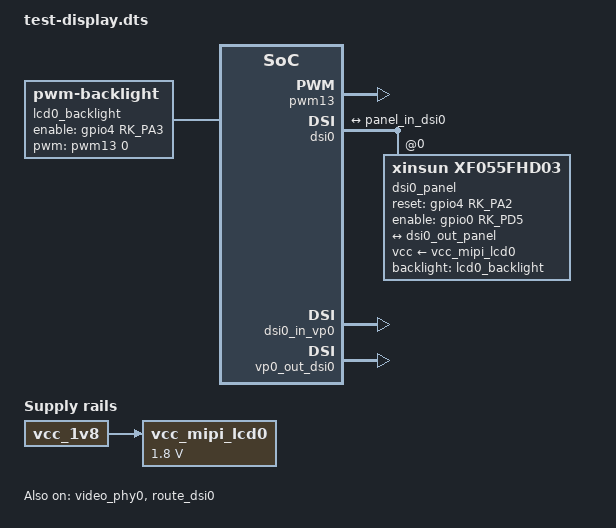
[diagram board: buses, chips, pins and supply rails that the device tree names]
/dts-v1/;
/plugin/;

#include <dt-bindings/gpio/gpio.h>
#include <dt-bindings/pinctrl/rockchip.h>
#include <dt-bindings/display/drm_mipi_dsi.h>

/ {
	metadata {
		title = "Enable test dsi Display";
		compatible = "radxa,cm3-io";
		category = "display";
		exclusive = "dsi0", "pwm13";
		description = "Enable test dsi Display.";
	};

	fragment@0 {
		target-path = "/";

		__overlay__ {
			vcc_mipi_lcd0: vcc-mipi {
				compatible = "regulator-fixed";
				regulator-name = "vcc_mipi_lcd0";
				regulator-always-on;
				regulator-boot-on;
				regulator-min-microvolt = <1800000>;
				regulator-max-microvolt = <1800000>;
				vin-supply = <&vcc_1v8>;
				regulator-state-mem {
					regulator-off-in-suspend;
				};
			};

			lcd0_backlight:lcd0-backlight {
				status = "okay";
				compatible = "pwm-backlight";
				pwms = <&pwm13 0 25000 12000>;
				brightness-levels = <
					255 254 253 252 251 250 249 248
					247 246 245 244 243 242 241 240
					239 238 237 236 235 234 233 232
					231 230 229 228 227 226 225 224
					223 222 221 220 219 218 217 216
					215 214 213 212 211 210 209 208
					207 206 205 204 203 202 201 200
					199 198 197 196 195 194 193 192
					191 190 189 188 187 186 185 184
					183 182 181 180 179 178 177 176
					175 174 173 172 171 170 169 168
					167 166 165 164 163 162 161 160
					159 158 157 156 155 154 153 152
					151 150 149 148 147 146 145 144
					143 142 141 140 139 138 137 136
					135 134 133 132 131 130 129 128
					127 126 125 124 123 122 121 120
					119 118 117 116 115 114 113 112
					111 110 109 108 107 106 105 104
					103 102 101 100  99  98  97  96
					95  94  93  92  91  90  89  88
					87  86  85  84  83  82  81  80
					79  78  77  76  75  74  73  72
					71  70  69  68  67  66  65  64
					63  62  61  60  59  58  57  56
					55  54  53  52  51  50  49  48
					47  46  45  44  43  42  41  40
					39  38  38  37  37  36  36  35
					35  34  34  33  33  32  32  31
					31  30  30  29  29  28  28  27
					27  26  26  25  25  24  24  23
					23  22  22  21  21  20  20   0
				>;
				default-brightness-level = <100>;
				enable-gpios = <&gpio4 RK_PA3 GPIO_ACTIVE_HIGH>;
				pinctrl-names = "default";
				pinctrl-0 = <&lcd0_backlight_drv>;

			};
		};
	};

	fragment@1 {
		target = <&pwm13>;

		__overlay__ {
			status = "okay";
			pinctrl-0 = <&pwm13m1_pins>;
		};
	};

	fragment@2 {
		target = <&video_phy0>;

		__overlay__ {
			status = "okay";
		};
	};

	fragment@3 {
		target = <&dsi0>;

		__overlay__ {
			status = "okay";
			dsi0_panel: panel@0 {
				status = "okay";
				compatible = "xinsun,xf055fhd03";
				reg = <0>;
				backlight = <&lcd0_backlight>;

				vcc-supply = <&vcc_mipi_lcd0>;
		                reset-gpios = <&gpio4 RK_PA2 GPIO_ACTIVE_HIGH>;
                                enable-gpio = <&gpio0 RK_PD5 GPIO_ACTIVE_HIGH>;

				pinctrl-names = "default";
				pinctrl-0 = <&dsi0_lcd_rst_gpio>;


				ports {
					#address-cells = <1>;
					#size-cells = <0>;

					port@0 {
						reg = <0>;
						panel_in_dsi0: endpoint {
							remote-endpoint = <&dsi0_out_panel>;
						};
					};
				};
			};

			ports {
				#address-cells = <1>;
				#size-cells = <0>;

				port@1 {
					reg = <1>;
					dsi0_out_panel: endpoint {
						remote-endpoint = <&panel_in_dsi0>;
					};
				};
			};
		};
	};

	fragment@4 {
		target = <&dsi0_in_vp0>;

		__overlay__ {
			status = "okay";
		};
	};

	fragment@5 {
		target = <&vp0_out_dsi0>;

		__overlay__ {
			status = "okay";
		};
	};

	fragment@6 {
		target = <&route_dsi0>;

		__overlay__ {
			status = "okay";
			connect = <&vp0_out_dsi0>;
		};
	};

	fragment@7 {
		target = <&route_hdmi>;
		__overlay__ {
			status = "disabled";
		};
	};

	fragment@8 {
		target = <&hdmi>;
		__overlay__ {
			status = "disabled";
		};
	};

	fragment@9 {
		target = <&pinctrl>;

		__overlay__ {
			dsi0-lcd {
				dsi0_lcd_rst_gpio: dsi0-lcd-rst-gpio {
					rockchip,pins = <4 RK_PA2 RK_FUNC_GPIO &pcfg_pull_up>;
				};

				dsi0_lcd_enable_gpio: dsi0-lcd-enable-gpio {
                                        rockchip,pins = <0 RK_PD5 RK_FUNC_GPIO &pcfg_pull_up>;
                                };

				lcd0_backlight_drv: lcd0-backlight-drv {
					rockchip,pins = <4 RK_PA3 RK_FUNC_GPIO &pcfg_pull_up>;
				};
			};
		};
	};
	fragment@10 {
		target = <&rk817>;
		__overlay__ {
			rtc {
				status = "okay";
			};
		};
	};
	
	fragment@11 {
		target = <&hym8563>;
		__overlay__ {
			status = "disabled";
		};
	};
	fragment@12 {
		target = <&pcie2x1>;
		__overlay__ {
			status = "disabled";
		};
	};
	fragment@13 {
		target = <&rk817_sound>;
		__overlay__ {
			status = "disabled";
		};
	};
	fragment@14 {
		target = <&gmac1>;
		__overlay__ {
			status = "disabled";
		};
	};
};
